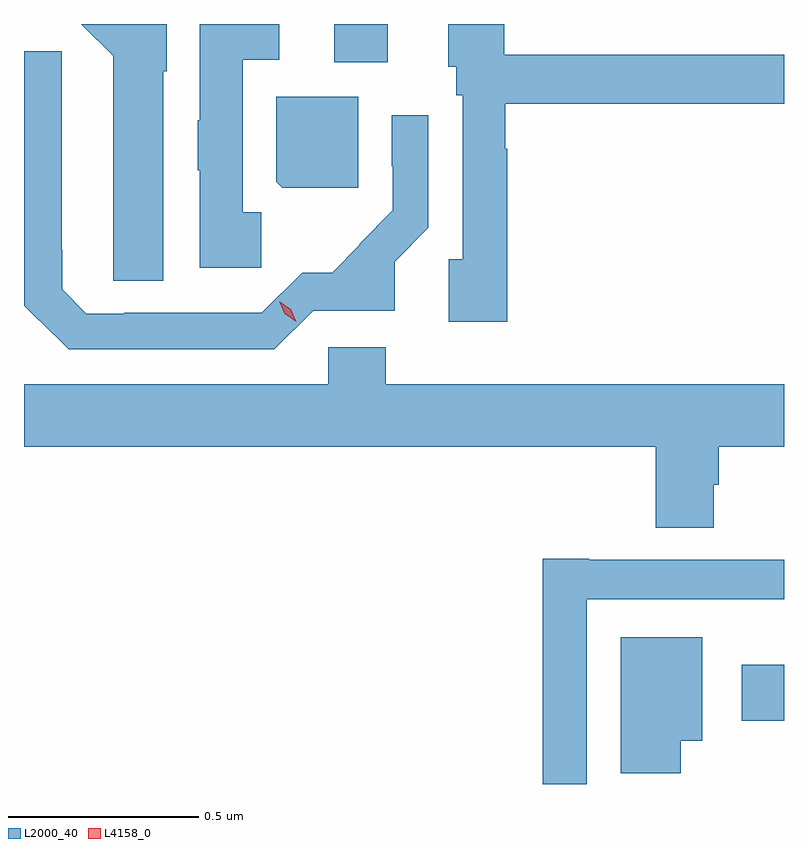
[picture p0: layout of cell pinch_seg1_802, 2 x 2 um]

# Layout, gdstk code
import gdstk
lib = gdstk.Library(unit=1e-6, precision=1e-09)
def R(c, l, rs):  # rectangles x0, y0, x1, y1
    for r in rs: c.add(gdstk.rectangle(r[:2], r[2:], *l))
def P(c, l, *ps):  # polygons
    for p in ps: c.add(gdstk.Polygon(p, *l))
L2000_40 = (2000, 40)
L4158_0 = (4158, 0)

pinch_seg1_802 = lib.new_cell('pinch_seg1_802')
R(pinch_seg1_802, L2000_40, [(539.973,577.651,540.084,577.798), (538.901,579.384,539.041,579.484)])
P(pinch_seg1_802, L2000_40, [(539.356,579.156),(539.35,579.156),(539.35,579.274),(540.084,579.274),(540.084,579.403),(539.348,579.403),(539.348,579.484),(539.201,579.484),(539.201,579.372),(539.222,579.372),(539.222,579.297),(539.238,579.297),(539.238,578.865),(539.202,578.865),(539.202,578.7),(539.356,578.7)],
  [(538.45,579.36),(538.459,579.36),(538.459,579.484),(538.235,579.484),(538.319,579.4),(538.319,578.809),(538.45,578.809)],
  [(538.708,578.988),(538.66,578.988),(538.66,579.39),(538.756,579.39),(538.756,579.484),(538.547,579.484),(538.547,579.231),(538.541,579.231),(538.541,579.099),(538.547,579.099),(538.547,578.843),(538.708,578.843)],
  [(538.845,578.73),(539.06,578.73),(539.06,578.859),(539.148,578.948),(539.148,579.244),(539.052,579.244),(539.052,579.11),(539.055,579.11),(539.055,578.994),(538.966,578.905),(538.968,578.903),(538.895,578.83),(538.816,578.83),(538.71,578.724),(538.348,578.724),(538.348,578.721),(538.248,578.721),(538.184,578.786),(538.184,578.89),(538.183,578.89),(538.183,579.412),(538.084,579.412),(538.084,578.743),(538.123,578.704),(538.124,578.705),(538.202,578.628),(538.743,578.628)],
  [(538.963,579.292),(538.748,579.292),(538.748,579.069),(538.764,579.053),(538.963,579.053)],
  [(539.899,578.271),(539.912,578.271),(539.912,578.372),(540.084,578.372),(540.084,578.536),(539.036,578.536),(539.036,578.634),(538.884,578.634),(538.884,578.536),(538.084,578.536),(538.084,578.372),(539.747,578.372),(539.747,578.159),(539.899,578.159)],
  [(539.565,577.97),(540.084,577.97),(540.084,578.074),(539.572,578.074),(539.572,578.077),(539.449,578.077),(539.449,577.484),(539.565,577.484)],
  [(539.812,577.598),(539.869,577.598),(539.869,577.87),(539.654,577.87),(539.654,577.512),(539.812,577.512)])
P(pinch_seg1_802, L4158_0, [(538.8,578.701),(538.77,578.721),(538.756,578.754),(538.756,578.754),(538.756,578.754),(538.786,578.734),(538.8,578.701),(538.8,578.701)])

lib.write_gds('pinch_seg1_802.gds')
